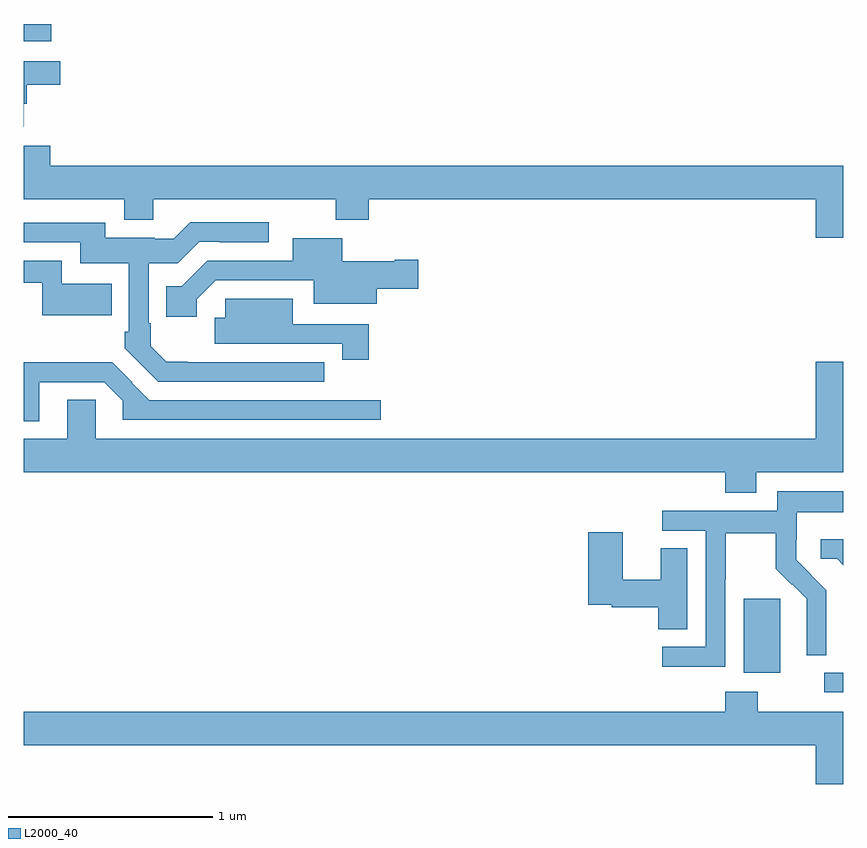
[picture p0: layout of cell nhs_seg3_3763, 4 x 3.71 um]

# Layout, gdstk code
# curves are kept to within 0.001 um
import gdstk
lib = gdstk.Library(unit=1e-6, precision=1e-09)
def R(c, l, rs):  # rectangles x0, y0, x1, y1
    for r in rs: c.add(gdstk.rectangle(r[:2], r[2:], *l))
def P(c, l, *ps):  # polygons
    for p in ps: c.add(gdstk.Polygon(p, *l))
L2000_40 = (2000, 40)

nhs_seg3_3763 = lib.new_cell('nhs_seg3_3763')
R(nhs_seg3_3763, L2000_40, [(308.907,737.139,309,737.235), (308.513,737.234,308.692,737.595), (305,740.316,305.135,740.4), (306.092,740.399,306.481,740.4)])
P(nhs_seg3_3763, L2000_40, [(305.002,740.01),(305.015,740.01),(305.015,740.104),(305.179,740.104),(305.179,740.218),(305,740.218),(305,739.898),(305.002,739.898)],
  [(309,739.708),(305.129,739.708),(305.129,739.807),(305,739.807),(305,739.544),(305.492,739.544),(305.492,739.445),(305.632,739.445),(305.632,739.544),(306.523,739.544),(306.523,739.445),(306.683,739.445),(306.683,739.544),(308.864,739.544),(308.864,739.356),(309,739.356)],
  [(306.466,738.75),(305.8,738.75),(305.8,738.753),(305.696,738.753),(305.62,738.828),(305.62,738.94),(305.61,738.94),(305.61,739.233),(305.751,739.233),(305.856,739.338),(305.956,739.338),(305.956,739.335),(306.196,739.335),(306.196,739.432),(305.812,739.432),(305.733,739.353),(305.639,739.353),(305.639,739.357),(305.398,739.357),(305.398,739.431),(305,739.431),(305,739.335),(305.276,739.335),(305.276,739.232),(305.514,739.232),(305.514,738.898),(305.494,738.898),(305.494,738.817),(305.657,738.654),(306.466,738.654)],
  [(305.845,739.057),(305.937,739.149),(306.416,739.149),(306.416,739.034),(306.724,739.034),(306.724,739.109),(306.925,739.109),(306.925,739.251),(306.812,739.251),(306.812,739.243),(306.556,739.243),(306.556,739.354),(306.314,739.354),(306.314,739.245),(305.897,739.245),(305.772,739.12),(305.695,739.12),(305.695,738.972),(305.845,738.972)],
  [(305.429,739.132),(305.187,739.132),(305.187,739.245),(305,739.245),(305,739.137),(305.091,739.137),(305.091,738.98),(305.429,738.98)],
  [(306.685,738.936),(306.313,738.936),(306.313,739.06),(305.984,739.06),(305.984,738.967),(305.933,738.967),(305.933,738.839),(306.209,738.839),(306.209,738.84),(306.554,738.84),(306.554,738.762),(306.685,738.762)],
  [(308.575,738.212),(309,738.212),(309,738.751),(308.864,738.751),(308.864,738.376),(305.352,738.376),(305.352,738.566),(305.213,738.566),(305.213,738.376),(305,738.376),(305,738.212),(308.423,738.212),(308.423,738.113),(308.575,738.113)],
  [(305.077,738.651),(305.394,738.651),(305.485,738.561),(305.485,738.468),(306.742,738.468),(306.742,738.564),(305.613,738.564),(305.528,738.649),(305.531,738.652),(305.433,738.75),(305,738.75),(305,738.462),(305.077,738.462)],
  [(308.424,737.692),(308.427,737.692),(308.427,737.916),(308.671,737.916),(308.671,737.741),(308.748,737.664),(308.751,737.667),(308.822,737.597),(308.822,737.474),(308.82,737.474),(308.82,737.32),(308.916,737.32),(308.916,737.638),(308.77,737.786),(308.77,737.883),(308.772,737.883),(308.772,738.017),(309,738.017),(309,738.121),(308.676,738.121),(308.676,738.024),(308.115,738.024),(308.115,737.928),(308.328,737.928),(308.328,737.361),(308.115,737.361),(308.115,737.263),(308.424,737.263)],
  [(308.239,737.843),(308.108,737.843),(308.108,737.689),(307.924,737.689),(307.924,737.92),(307.754,737.92),(307.754,737.567),(307.87,737.567),(307.87,737.555),(308.096,737.555),(308.096,737.446),(308.239,737.446)],
  [(309,737.887),(308.889,737.887),(308.889,737.79),(308.97,737.79),(309,737.76)],
  [(309,737.044),(308.583,737.044),(308.583,737.143),(308.423,737.143),(308.423,737.044),(305,737.044),(305,736.88),(308.864,736.88),(308.864,736.692),(309,736.692)])

lib.write_gds('nhs_seg3_3763.gds')
